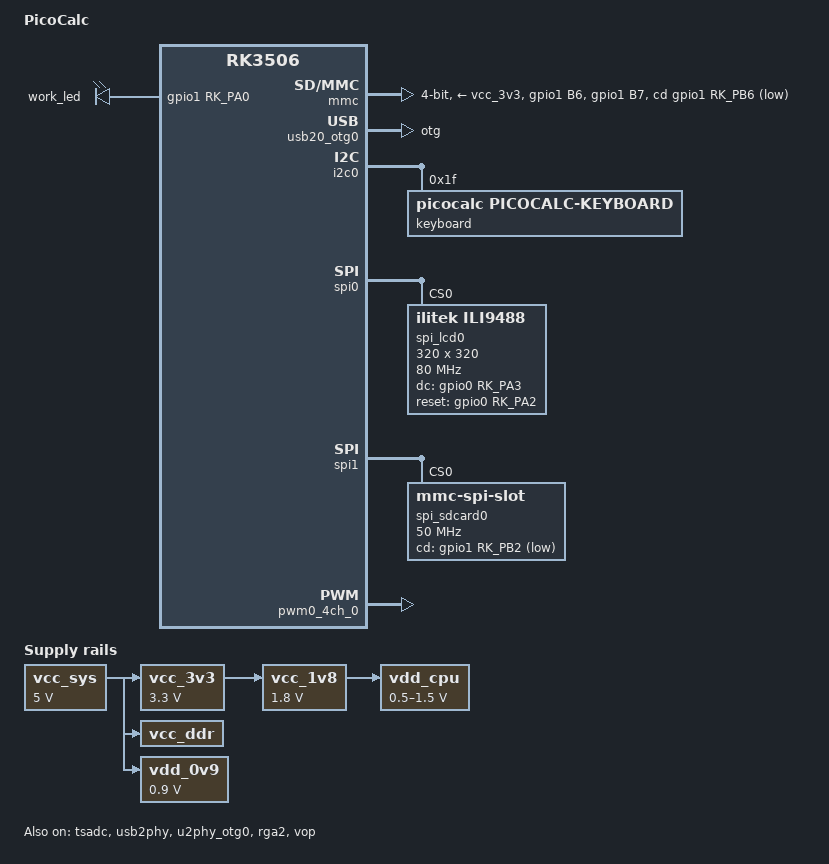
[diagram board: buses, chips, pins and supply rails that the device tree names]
// SPDX-License-Identifier: (GPL-2.0+ OR MIT)
/*
 * Copyright (c) 2024 Rockchip Electronics Co., Ltd.
 * Copyright (c) 2025 nekocharm
 */

/dts-v1/;

#include <dt-bindings/soc/rockchip-amp.h>
#include <dt-bindings/pinctrl/rockchip.h>
#include <dt-bindings/display/drm_mipi_dsi.h>
#include <dt-bindings/display/rockchip_vop.h>
#include <dt-bindings/input/rk-input.h>
#include <dt-bindings/sensor-dev.h>
#include <dt-bindings/suspend/rockchip-rk3506.h>
#include "rk3506.dtsi"

#define CPU_GET_AFFINITY(cluster, cpu)		(cpu)

/ {
	model = "PicoCalc";
	compatible = "rockchip,rk3506";

	chosen {
		bootargs = "earlycon=uart8250,mmio32,0xff0a0000 console=ttyFIQ0 storagemedia=sd root=/dev/mmcblk0p4 rootfstype=ext4 rootwait snd_aloop.index=7 snd_aloop.use_raw_jiffies=1";
	};

	aliases {
		/* ensure mount mmc first */
		mmc0 = &mmc;
		mmc1 = &spi_sdcard0;
	};

	rockchip_amp: rockchip-amp {
		compatible = "rockchip,amp";
		clocks = <&cru HCLK_M0>, <&cru STCLK_M0>,
			<&cru PCLK_TIMER>, <&cru CLK_TIMER0_CH5>,
			<&cru CLK_TIMER0_CH0>, <&cru CLK_TIMER0_CH4>;

		amp-cpu-aff-maskbits = /bits/ 64 <0x0 0x1 0x1 0x2 0x2 0x4>;
		amp-irqs = /bits/ 64 <
			/* TIMER0 */
			GIC_AMP_IRQ_CFG_ROUTE(126, 0xd0, CPU_GET_AFFINITY(0, 2))
			/* TIMER4 */
			GIC_AMP_IRQ_CFG_ROUTE(130, 0xd0, CPU_GET_AFFINITY(0, 2))>;
		status = "okay";
	};

	mcu_log: mculog {
		compatible = "picocalc,mculog";
		memory-region = <&shmem_reserved>;
		shmem-offset = <0x20>;
		shmem-length = <0x7fe0>;
	};

	fiq_debugger: fiq-debugger {
		compatible = "rockchip,fiq-debugger";
		rockchip,serial-id = <0>;
		rockchip,wake-irq = <0>;
		rockchip,irq-mode-enable = <1>;
		rockchip,baudrate = <1500000>;	/* Only 115200 and 1500000 */
		interrupts = <GIC_SPI 115 IRQ_TYPE_LEVEL_HIGH>;
	};

	leds: leds {
		compatible = "gpio-leds";
		work_led: work-led {
			gpios = <&gpio1 RK_PA0 GPIO_ACTIVE_HIGH>;
			linux,default-trigger = "heartbeat";
		};
	};

	softpwm_sound: softpwm-sound {
		compatible = "picocalc,softpwm-sound";
		memory-region = <&shmem_reserved>;
		shmem-offset = <0>;
		shmem-length = <0x20>;
		status = "okay";
	};

	vcc_sys: vcc-sys {
		compatible = "regulator-fixed";
		regulator-name = "vcc_sys";
		regulator-always-on;
		regulator-boot-on;
		regulator-min-microvolt = <5000000>;
		regulator-max-microvolt = <5000000>;
	};

	vcc_3v3: vcc-3v3 {
		compatible = "regulator-fixed";
		regulator-name = "vcc_3v3";
		regulator-always-on;
		regulator-boot-on;
		regulator-min-microvolt = <3300000>;
		regulator-max-microvolt = <3300000>;
		vin-supply = <&vcc_sys>;
	};

	vcc_1v8: vcc-1v8 {
		compatible = "regulator-fixed";
		regulator-name = "vcc_1v8";
		regulator-always-on;
		regulator-boot-on;
		regulator-min-microvolt = <1800000>;
		regulator-max-microvolt = <1800000>;
		vin-supply = <&vcc_3v3>;
	};

	//1.8V
	vcc_ddr: vcc-ddr {
		compatible = "regulator-fixed";
		regulator-name = "vcc_ddr";
		regulator-always-on;
		regulator-boot-on;
		vin-supply = <&vcc_sys>;
	};

	vdd_0v9: vdd-0v9 {
		compatible = "regulator-fixed";
		regulator-name = "vdd_0v9";
		regulator-always-on;
		regulator-boot-on;
		regulator-min-microvolt = <900000>;
		regulator-max-microvolt = <900000>;
		vin-supply = <&vcc_sys>;
	};

	vdd_cpu: vdd-cpu {
		compatible = "pwm-regulator";
		pwms = <&pwm0_4ch_0 0 5000 1>;
		regulator-name = "vdd_cpu";
		regulator-min-microvolt = <500000>;
		regulator-max-microvolt = <1500000>;
		regulator-init-microvolt = <500000>;
		regulator-always-on;
		regulator-boot-on;
		regulator-settling-time-up-us = <250>;
		pwm-supply = <&vcc_1v8>;
	};
};

/**********cpu**********/
&cpu0 {
	cpu-supply = <&vdd_cpu>;
	status = "okay";
};

/**********media**********/
&mmc {
	/* For SDMMC */
	max-frequency = <52000000>;
	bus-width = <4>;
	no-sdio;
	no-mmc;
	cap-mmc-highspeed;
	cap-sd-highspeed;
	cd-gpios = <&gpio1 RK_PB6 GPIO_ACTIVE_LOW>; //det
	disable-wp;
	pinctrl-names = "default";
	pinctrl-0 = <&sdmmc_clk_pins &sdmmc_cmd_pins &sdmmc_bus4_pins &sdmmc_det &sdmmc_pwren>;
	vqmmc-supply = <&vcc_3v3>;
	vmmc-supply = <&vcc_3v3>;
	status = "okay";
};

/**********reserved memory**********/
&reserved_memory {
	/* mcu address */
	mcu_reserved: mcu@fff80000 {
		reg = <0xfff80000 0xc000>;
		no-map;
	};

	/* 0x00~0x20 for PWM */
	/* 0x20~0x8000 for log*/
	shmem_reserved: shmem@3c00000 {
		reg = <0x03c00000 0x8000>;
		no-map;
		no-cache;
	};
};

&drm_logo {
	status = "disabled";
};

&cma {
	status = "disabled";
};

/**********adc**********/
&tsadc {
	status = "okay";
};

/**********usb**********/
&usb20_otg0 {
	dr_mode = "otg";
	usb-role-switch;
	role-switch-default-mode = "peripheral";
	adp-disable;
	srp-disable;
	status = "okay";
};

&usb2phy {
	status = "okay";
};

&u2phy_otg0 {
	status = "okay";
};

/**********i2c**********/
&i2c0{
	status = "okay";
	pinctrl-names = "default";
	pinctrl-0 = <&rm_io10_i2c0_scl &rm_io11_i2c0_sda>;

	keyboard: keyboard@1f {
		status = "okay";
		compatible = "picocalc,picocalc-keyboard";
		reg = <0x1f>;
	};

};

/**********spi**********/
&spi0 {
	num-cs = <1>;
	pinctrl-names = "default";
	pinctrl-0 = <&rm_io4_spi0_csn0 &rm_io5_spi0_miso &rm_io6_spi0_mosi &rm_io7_spi0_clk>;
	status = "okay";
	spi_lcd0: spi-lcd@0 {
		compatible = "ilitek,ili9488";
		reg = <0>;
		spi-max-frequency = <80000000>;
		pinctrl-names = "default";
    	pinctrl-0 = <&lcd_pins>;
        dc-gpios = <&gpio0 RK_PA3 GPIO_ACTIVE_HIGH>;
        reset-gpios = <&gpio0 RK_PA2 GPIO_ACTIVE_HIGH>;
        rotate = <0>;
        width = <320>;
        height = <320>;
        buswidth = <8>;
		status = "okay";
	};
};

&spi1 {
	num-cs = <1>;
	pinctrl-names = "default";
	pinctrl-0 = <&rm_io28_spi1_mosi &rm_io29_spi1_clk &rm_io30_spi1_csn0 &rm_io31_spi1_miso>;
	status = "okay";
	spi_sdcard0: spi-sdcard@0 {
		compatible = "mmc-spi-slot";
        reg = <0>;
        spi-max-frequency = <50000000>;
        voltage-ranges = <3300 3300>;
        cd-gpios = <&gpio1 RK_PB2 GPIO_ACTIVE_LOW>;
		status = "okay";
	};
};

/**********dma**********/
&dmac0 {
	arm,pl330-mcbufsz-bytes = <1024>;
};

/**********pwm**********/
&pwm0_4ch_0 {
	pinctrl-names = "active";
	pinctrl-0 = <&rm_io21_pwm0_ch0>;
	status = "okay";
};

/**********display**********/
&rga2 {
	status = "okay";
};

&vop {
	status = "okay";
};

/**********pinctrl**********/
&pinctrl {
	sdmmc {
		/omit-if-no-ref/
		sdmmc_pwren: sdmmc-pwren {
			rockchip,pins = <1 RK_PB7 RK_FUNC_GPIO &pcfg_pull_down>;
		};

		sdmmc_det: sdmmc-det {
			rockchip,pins = <1 RK_PB6 RK_FUNC_GPIO &pcfg_pull_down>;
		};
	};

	sdcard {
		sdcard_det: sdcard-det {
			rockchip,pins = <1 RK_PB2 RK_FUNC_GPIO &pcfg_pull_none>;
		};
	};

	lcd {
		lcd_pins: lcd-pins {
			rockchip,pins = 
				<0 RK_PA3 RK_FUNC_GPIO &pcfg_pull_none>,
				<0 RK_PA2 RK_FUNC_GPIO &pcfg_pull_none>;
		};
	};
};
